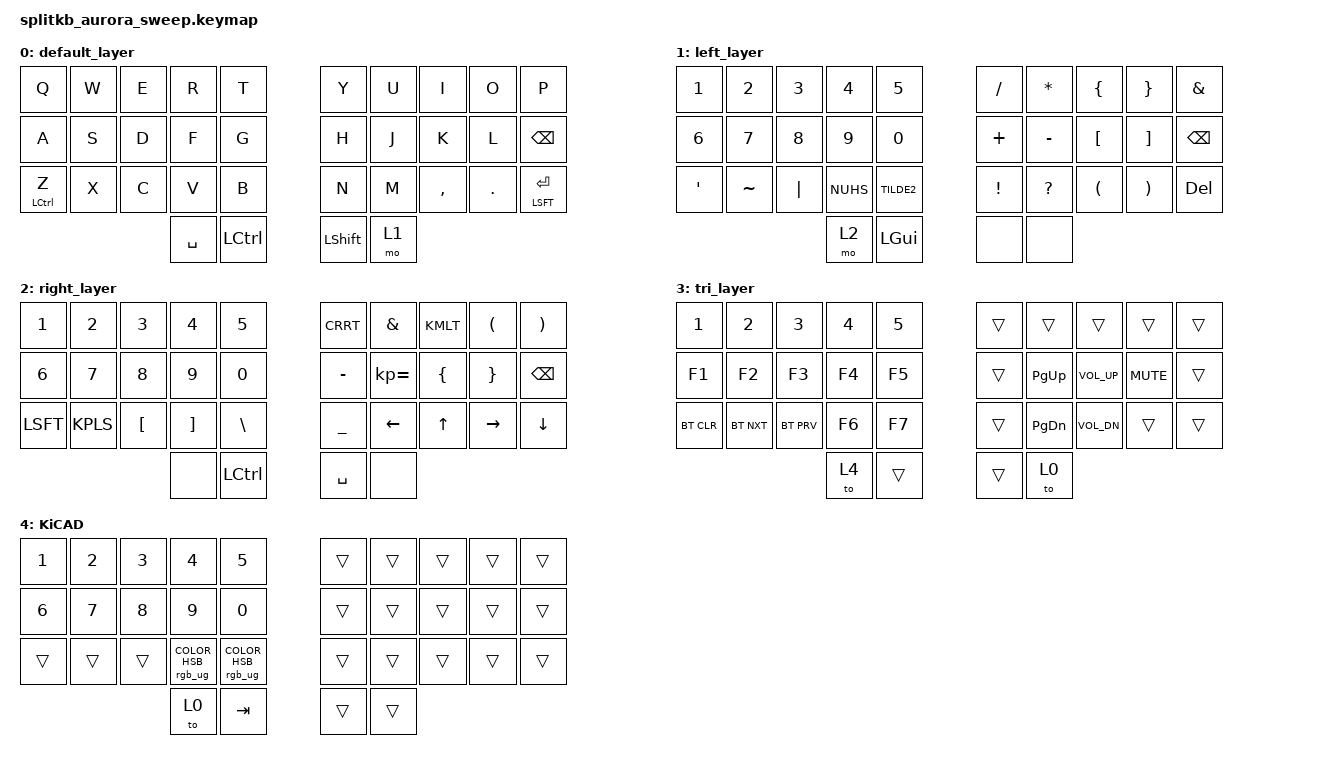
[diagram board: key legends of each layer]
/*
 * Copyright (c) 2022 The ZMK Contributors
 *
 * SPDX-License-Identifier: MIT
 */

#include <behaviors.dtsi>
#include <dt-bindings/zmk/bt.h>
#include <dt-bindings/zmk/keys.h>
#include <dt-bindings/zmk/rgb.h>

&mt {
    //  flavor = "tap-preferred";
    // tapping-term-ms = <200>;
};

&led_strip { chain-length = <17>; };

/ {
    combos {
        compatible = "zmk,combos";

        combo_esc {
            timeout-ms = <50>;
            key-positions = <0 1>;
            bindings = <&kp ESC>;
        };

        combo_tab {
            timeout-ms = <50>;
            key-positions = <4 3>;
            bindings = <&kp TAB>;
        };

        combo_ralt {
            timeout-ms = <50>;
            key-positions = <17 16>;
            bindings = <&kp RALT>;
        };

        combo_lalt {
            timeout-ms = <50>;
            key-positions = <11 12>;
            bindings = <&kp LALT>;
        };

        DLT {
            bindings = <&kp DELETE>;
            key-positions = <8 9>;
        };

        HME_CMB {
            bindings = <&kp HOME>;
            key-positions = <30 31>;
        };

        END_CMB {
            bindings = <&kp END>;
            key-positions = <33 32>;
        };
    };

    macros {
        L1: new_macro {
            compatible = "zmk,behavior-macro";
            #binding-cells = <0>;
            bindings =
                <&mo 1>,
                <&macro_press>,
                <&rgb_ug RGB_COLOR_HSB(244,90,49)>;

            label = "NEW_MACRO";
        };

        L2: L2 {
            compatible = "zmk,behavior-macro";
            #binding-cells = <0>;
            bindings =
                <&mo 2>,
                <&macro_press>,
                <&rgb_ug RGB_COLOR_HSB(118,88,49)>;

            label = "L2";
        };
    };

    keymap {
        compatible = "zmk,keymap";

        default_layer {
            bindings = <
&kp Q        &kp W      &kp E  &kp R  &kp T    &kp Y  &kp U  &kp I      &kp O           &kp P
&kp A        &kp S      &kp D  &kp F  &kp G    &kp H  &kp J  &kp K      &kp L           &kp BACKSPACE
&mt LCTRL Z  &kp X      &kp C  &kp V  &kp B    &kp N  &kp M  &kp COMMA  &kp DOT         &mt LSFT RET
&kp SPACE    &kp LCTRL                                                  &kp LEFT_SHIFT  &mo 1
            >;
        };

        left_layer {
            bindings = <
&kp NUMBER_1      &kp NUMBER_2  &kp NUMBER_3  &kp NUMBER_4  &kp NUMBER_5    &kp SLASH        &kp ASTERISK  &kp LEFT_BRACE        &kp RIGHT_BRACE        &kp AMPERSAND
&kp NUMBER_6      &kp NUMBER_7  &kp NUMBER_8  &kp N9        &kp NUMBER_0    &kp PLUS         &kp MINUS     &kp LBKT              &kp RBKT               &kp BACKSPACE
&kp SINGLE_QUOTE  &kp TILDE     &kp PIPE      &kp NUHS      &kp TILDE2      &kp EXCLAMATION  &kp QUESTION  &kp LEFT_PARENTHESIS  &kp RIGHT_PARENTHESIS  &kp DEL
&mo 2             &kp LGUI                                                                                                       &none                  &none
            >;
        };

        right_layer {
            bindings = <
&kp NUMBER_1  &kp NUMBER_2  &kp NUMBER_3  &kp NUMBER_4  &kp NUMBER_5    &kp CRRT   &kp AMPS      &kp KMLT      &kp LPRN         &kp RPRN
&kp NUMBER_6  &kp NUMBER_7  &kp NUMBER_8  &kp NUMBER_9  &kp NUMBER_0    &kp MINUS  &kp KP_EQUAL  &kp LBRC      &kp RBRC         &kp BKSP
&kp LSFT      &kp KPLS      &kp LBKT      &kp RBKT      &kp BSLH        &kp UNDER  &kp LEFT      &kp UP_ARROW  &kp RIGHT_ARROW  &kp DOWN_ARROW
&none         &kp LCTL                                                                                         &kp SPC          &none
            >;
        };

        tri_layer {
            bindings = <
&kp NUM_1   &kp NUM_2   &kp NUM_3   &kp NUM_4  &kp NUM_5    &trans  &trans     &trans        &trans      &trans
&kp F1      &kp F2      &kp F3      &kp F4     &kp F5       &trans  &kp PG_UP  &kp K_VOL_UP  &kp K_MUTE  &trans
&bt BT_CLR  &bt BT_NXT  &bt BT_PRV  &kp F6     &kp F7       &trans  &kp PG_DN  &kp K_VOL_DN  &trans      &trans
&to 4       &trans                                                                           &trans      &to 0
            >;
        };

        KiCAD {
            bindings = <
&kp NUMBER_1  &kp NUMBER_2  &kp NUMBER_3  &kp NUMBER_4                    &kp NUMBER_5                        &trans  &trans  &trans  &trans  &trans
&kp NUMBER_6  &kp NUMBER_7  &kp NUMBER_8  &kp NUMBER_9                    &kp NUMBER_0                        &trans  &trans  &trans  &trans  &trans
&trans        &trans        &trans        &rgb_ug RGB_COLOR_HSB(0,88,48)  &rgb_ug RGB_COLOR_HSB(238,86,50)    &trans  &trans  &trans  &trans  &trans
&to 0         &kp TAB                                                                                                                 &trans  &trans
            >;
        };
    };
};
